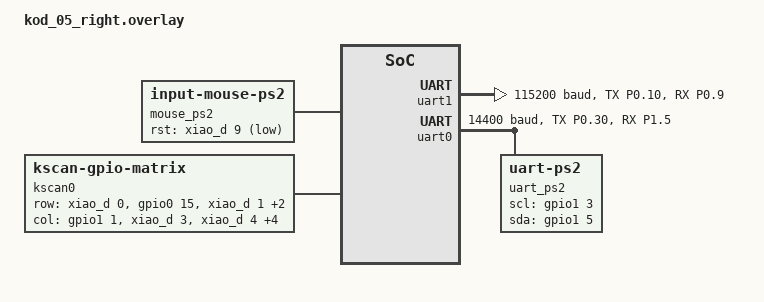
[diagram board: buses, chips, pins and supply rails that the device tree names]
/*
 * Copyright (c) 2024 kodomari
 * SPDX-License-Identifier: MIT
 */
#include "kod_05.dtsi"
#include <zephyr/dt-bindings/pinctrl/nrf-pinctrl.h>

&xiao_spi { status = "disabled"; };
&xiao_i2c { status = "disabled"; };
&xiao_serial { status = "disabled"; };

/*
 * kod-05 アダプタ(右手用)FFC1 ピン割当 (実測確認済み 2026-08):
 *   12:ROW0=D0(P0.02)  11:ROW1=D1(P0.03)  10:ROW2=D2(P0.28)
 *    9:ROW3=D3(P0.29)   8:ROW4=D4(P0.04)
 *    7:COL0=D5(P0.05)   6:COL1=D6(P1.11)   5:COL2=D7(P1.12)
 *    4:COL3=D8(P1.13)   3:COL4=D9(P1.14)   2:COL5=D10(P1.15)
 *    1:COL6=拡張ピン P0.15
 * (右手FFCにGND/ENC_A/ENC_Bなし。ENC_A(P0.19)/ENC_B(P1.01)は未使用)
 *
 * トラックポイント(PS/2, UART bit-bangドライバ):
 *   CLK  = UART_TX = P1.03 (変更なし)
 *   DATA = P1.05 (旧 P0.31/UART_RX から変更。基板上のP0.31配線は
 *          切り飛ばし、XIAOのP1.05ピンへジャンパで直結する)
 *   理由: P0.31はXIAO内部でバッテリ電圧監視回路(PIN_VBAT)に恒久接続
 *         されており、信号線として使うと通信品質低下や充電中の耐圧
 *         超過による破損リスクがあるため使用しない。
 *
 * PD_1(P0.09)=RX1 / PD_2(P0.10)=TX1 は、ヒンジを跨ぐ左右リンク用の
 * ハードウェアUART1として確定。トラックポイントには使わない。
 * 右手はcentral側(kod_05_right.conf の CONFIG_ZMK_SPLIT_ROLE_CENTRAL=y)。
 */
&pinctrl {
    uart1_default: uart1_default {
        group1 {
            psels = <NRF_PSEL(UART_TX, 0, 10)>,
                    <NRF_PSEL(UART_RX, 0, 9)>;
        };
    };

    uart1_sleep: uart1_sleep {
        group1 {
            psels = <NRF_PSEL(UART_TX, 0, 10)>,
                    <NRF_PSEL(UART_RX, 0, 9)>;
            low-power-enable;
        };
    };

    uart0_ps2_default: uart0_ps2_default {
        group1 {
            psels = <
                NRF_PSEL(UART_TX, 0, 30)   /* unused TX (unexposed) */
                NRF_PSEL(UART_RX, 1, 5)    /* DATA = P1.05 */
            >;
        };
    };

    uart0_ps2_sleep: uart0_ps2_sleep {
        group1 {
            psels = <
                NRF_PSEL(UART_TX, 0, 30)   /* unused TX */
                NRF_PSEL(UART_RX, 1, 15)   /* unused RX (sleep退避先, D10=P1.15) */
            >;
            low-power-enable;
        };
    };
};

&uart1 {
    compatible = "nordic,nrf-uarte";
    status = "okay";
    current-speed = <115200>;
    pinctrl-0 = <&uart1_default>;
    pinctrl-1 = <&uart1_sleep>;
    pinctrl-names = "default", "sleep";
};

&uart0 {
    compatible = "nordic,nrf-uarte";
    status = "okay";
    current-speed = <14400>;
    pinctrl-0 = <&uart0_ps2_default>;
    pinctrl-1 = <&uart0_ps2_sleep>;
    pinctrl-names = "default", "sleep";

    uart_ps2: uart_ps2 {
        compatible = "uart-ps2";
        status = "okay";
        scl-gpios = <&gpio1 3 GPIO_OPEN_DRAIN>; /* CLK  = UART_TX = P1.03 */
        sda-gpios = <&gpio1 5 GPIO_OPEN_DRAIN>; /* DATA = P1.05 (ジャンパ) */
    };
};

/ {
    wired_split: wired_split {
        compatible = "zmk,wired-split";
        device = <&uart1>;
    };

    mouse_ps2: mouse_ps2 {
        compatible = "zmk,input-mouse-ps2";
        status = "okay";
        ps2-device = <&uart_ps2>;

        /* 実機のトラックポイントユニットがハードウェアリセット線を持っていたため
         * 有効化。D9/D10は右手では未使用(エンコーダは左手のみ)なのでD9を使う。
         */
        rst-gpios = <&xiao_d 9 GPIO_ACTIVE_LOW>;

        tp-sensitivity = <100>;
    };

    ps2_listener: ps2_listener {
        compatible = "zmk,input-listener";
        device = <&mouse_ps2>;
    };
    msc_input_listener: msc_input_listener {
        compatible = "zmk,input-listener";
        device = <&msc>;
    };

    kscan0: kscan {
        compatible = "zmk,kscan-gpio-matrix";
        wakeup-source;
        diode-direction = "col2row";

        row-gpios
          = <&xiao_d 0  (GPIO_ACTIVE_HIGH | GPIO_PULL_DOWN)>   /* ROW0 = adapter pad15 */
          , <&gpio0 15  (GPIO_ACTIVE_HIGH | GPIO_PULL_DOWN)>   /* ROW1 = adapter pad14 = P0.15 */
          , <&xiao_d 1  (GPIO_ACTIVE_HIGH | GPIO_PULL_DOWN)>   /* ROW2 = adapter pad13 */
          , <&gpio0 19  (GPIO_ACTIVE_HIGH | GPIO_PULL_DOWN)>   /* ROW3 = adapter pad12 = P0.19 */
          , <&xiao_d 2  (GPIO_ACTIVE_HIGH | GPIO_PULL_DOWN)>   /* ROW4 = adapter pad11 */
          ;

        col-gpios
          = <&gpio1 1   GPIO_ACTIVE_HIGH>   /* COL0 = adapter pad10 = P1.01 */
          , <&xiao_d 3  GPIO_ACTIVE_HIGH>   /* COL1 = adapter pad9 */
          , <&xiao_d 4  GPIO_ACTIVE_HIGH>   /* COL2 = adapter pad8 */
          , <&xiao_d 5  GPIO_ACTIVE_HIGH>   /* COL3 = adapter pad7 */
          , <&xiao_d 6  GPIO_ACTIVE_HIGH>   /* COL4 = adapter pad6 */
          , <&xiao_d 7  GPIO_ACTIVE_HIGH>   /* COL5 = adapter pad5 */
          , <&xiao_d 8  GPIO_ACTIVE_HIGH>   /* COL6 = adapter pad4 */
          ;
    };
};

&msc_input_listener {
    status = "okay";
};
